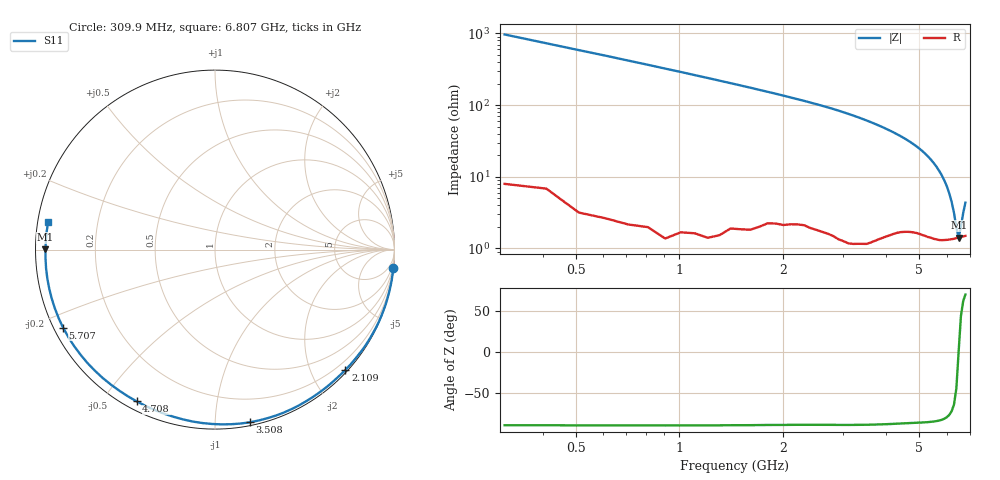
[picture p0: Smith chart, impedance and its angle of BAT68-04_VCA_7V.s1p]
! Infineon Technologies  Discrete & RF Semiconductors
! BAT68-04
! VCA = 7 V
! One-Port S-Parameters
# Hz  S  MA  R  50
!f  S11
!Hz  Mag  Ang
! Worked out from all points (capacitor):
!   66 points, 309.9 MHz to 6.807 GHz, reference 50 ohm
!   read as one part to ground: C = 531 fF near 309.9 MHz
!   lowest |Z| = 1.42 ohm at 6.507 GHz (marker M1)
!   series resonance near 6.505 GHz, so ESL is about 1.1 nH
!   S11 on the Smith chart (normalised r, x): 309.9 MHz: 0, -19; 2.109 GHz: 0.04, -2.56; 3.508 GHz: 0.02, -1.22; 4.708 GHz: 0.03, -0.61; 5.707 GHz: 0.03, -0.24; 6.807 GHz: 0.03, +0.08
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3.0985e8  0.9991 -5.9
6.097e8  0.9989 -11.7
8.096e8  0.9985 -15.6
1.2094e9  0.9976 -23.6
1.6092e9  0.9945 -31.9
2.009e9  0.9899 -40.5
2.10895e9  0.9885 -42.7
2.50875e9  0.9862 -51.8
2.8086e9  0.9856 -59.1
3.0085e9  0.9858 -64.4
3.2084e9  0.9849 -69.9
3.50825e9  0.9816 -78.6
3.6082e9  0.9795 -81.6
3.8081e9  0.9744 -87.8
4.008e9  0.9689 -94.1
4.2079e9  0.9628 -100.6
4.4078e9  0.9571 -107.2
4.70765e9  0.9516 -117.3
5.0075e9  0.9498 -127.7
5.2074e9  0.9503 -134.8
5.30735e9  0.951 -138.4
5.50725e9  0.9514 -145.6
5.70715e9  0.9516 -152.8
5.90705e9  0.9504 -159.9
6.007e9  0.9496 -163.4
6.2069e9  0.9479 -170.2
6.50675e9  0.9447 179.9
6.8066e9  0.9422 170.6
